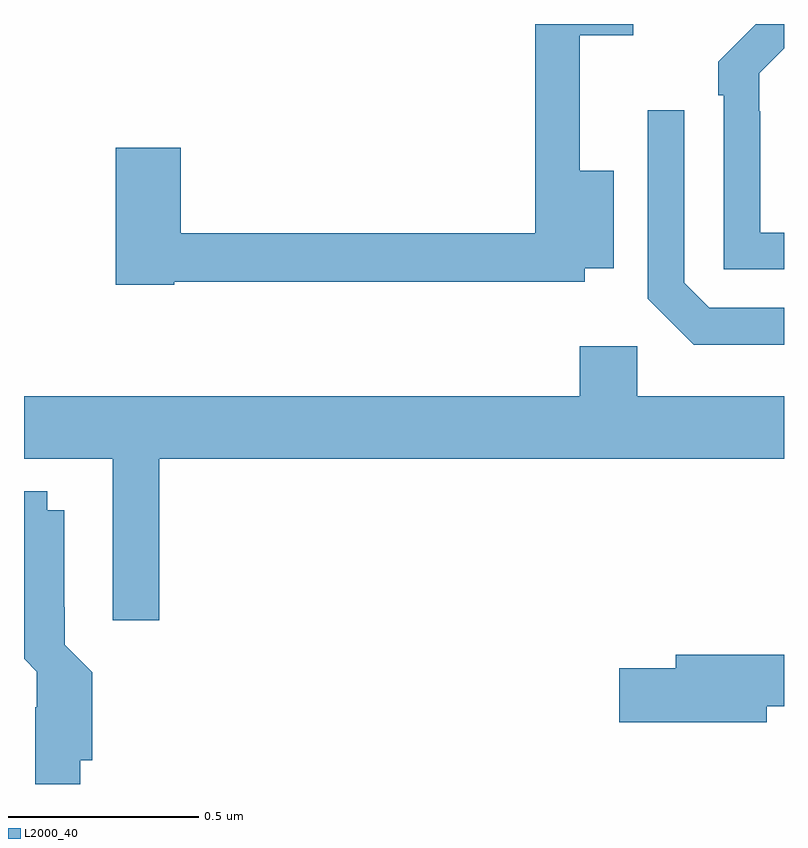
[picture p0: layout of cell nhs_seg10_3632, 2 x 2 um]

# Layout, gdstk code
import gdstk
lib = gdstk.Library(unit=1e-6, precision=1e-09)
def P(c, l, *ps):  # polygons
    for p in ps: c.add(gdstk.Polygon(p, *l))
L2000_40 = (2000, 40)

nhs_seg10_3632 = lib.new_cell('nhs_seg10_3632')
P(nhs_seg10_3632, L2000_40, [(158,1260.951),(157.938,1260.951),(157.938,1261.271),(157.935,1261.271),(157.935,1261.371),(158,1261.436),(158,1261.5),(157.926,1261.5),(157.827,1261.401),(157.827,1261.313),(157.842,1261.313),(157.842,1260.855),(158,1260.855)],
  [(156.396,1260.822),(157.476,1260.822),(157.476,1260.857),(157.552,1260.857),(157.552,1261.114),(157.463,1261.114),(157.463,1261.47),(157.603,1261.47),(157.603,1261.5),(157.345,1261.5),(157.345,1260.95),(156.413,1260.95),(156.413,1261.174),(156.242,1261.174),(156.242,1260.814),(156.396,1260.814)],
  [(158,1260.753),(157.803,1260.753),(157.737,1260.819),(157.737,1261.273),(157.641,1261.273),(157.641,1260.777),(157.762,1260.656),(158,1260.656)],
  [(156.356,1260.356),(158,1260.356),(158,1260.52),(157.614,1260.52),(157.614,1260.652),(157.463,1260.652),(157.463,1260.52),(156,1260.52),(156,1260.356),(156.233,1260.356),(156.233,1259.931),(156.356,1259.931)],
  [(156.148,1259.562),(156.179,1259.562),(156.179,1259.794),(156.107,1259.866),(156.107,1259.965),(156.106,1259.965),(156.106,1260.22),(156.061,1260.22),(156.061,1260.271),(156,1260.271),(156,1259.829),(156.033,1259.796),(156.033,1259.702),(156.029,1259.702),(156.029,1259.5),(156.148,1259.5)],
  [(157.954,1259.704),(158,1259.704),(158,1259.84),(157.715,1259.84),(157.715,1259.804),(157.566,1259.804),(157.566,1259.662),(157.954,1259.662)])

lib.write_gds('nhs_seg10_3632.gds')
